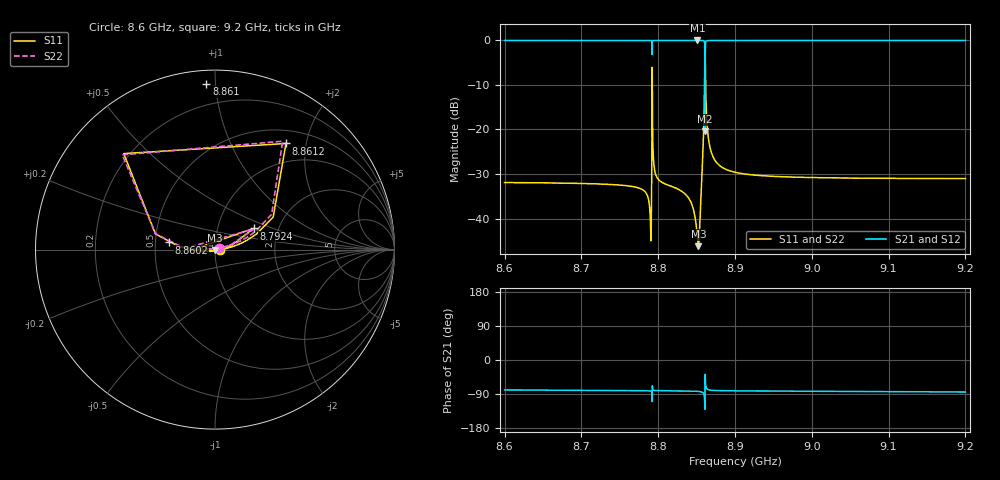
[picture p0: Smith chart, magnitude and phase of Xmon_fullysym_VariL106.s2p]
! Sonnet Data File
! From: emgraph Version : 16.52
! From Project: 171117_Xmon_fullysym
! Data is De-embedded
! Data File Written: 11/26/2017 21:44:47
!< HDATE 11/26/2017 17:24:49
!< MDATE 11/26/2017 17:24:49
!< PARAMS
!< Lj = 11.0
!< Gap = 1.0
!< Pwid = 2000.0
!< Airgap = 6.0
!< Width = 10.0
!< Lj1 = 10.6
!< END PARAMS
# GHZ S MA R 50.90000
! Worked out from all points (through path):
!   3001 points, 8.6 GHz to 9.2 GHz, reference 50.9 ohm
!   highest |S21| = 0.00 dB at 8.851 GHz (marker M1); lowest = -20.4 dB at 8.861 GHz (marker M2)
!   lowest |S11| = -46.2 dB at 8.8524 GHz (marker M3), VSWR 1.01, Z = 50.9 - j0.496 ohm
!   |S11| at or under -10 dB: start of sweep to 8.7921 GHz; 8.7923 GHz to 8.8603 GHz (68.01 MHz wide, 0.771 % of centre); 8.8617 GHz to end of sweep
!   |S22| runs from -46.0 to -0.7 dB; largest |S21 - S12| = 6.2e-10
!   S11 on the Smith chart (normalised r, x): 8.6 GHz: 1.05, -0.00; 8.7924 GHz: 1.49, +0.37; 8.8602 GHz: 0.59, +0.05; 8.861 GHz: 0.08, +0.95; 8.8612 GHz: 0.69, +1.65; 9.2 GHz: 1.06, -0.01
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8.6  0.02534 -0.4  0.9997 -79.0  0.9997 -79.0  0.02534 22.4
!< P1 F=8.6 Eeff=(6.44845572 -2.9799e-5) Z0=(50.9087207 1.17006e-4) R=0.0 C=0.0
!< P2 F=8.6 Eeff=(6.44845572 -2.9799e-5) Z0=(50.9087207 1.17006e-4) R=0.0 C=0.0
8.7  0.02476 -1.9  0.9997 -80.0  0.9997 -80.0  0.02476 21.9
8.7754  0.02191 -4.7  0.9998 -80.9  0.9998 -80.9  0.02191 23.0
8.7882  0.0149 -12.7  0.9998 -81.4  0.9998 -81.4  0.01493 30.2
8.7924  0.2452 28.7  0.9425 -68.1  0.9425 -68.1  0.2464 27.8
8.7946  0.03863 3.2  0.9991 -80.1  0.9991 -80.1  0.03867 17.1
8.8002  0.02749 -1.3  0.9996 -80.8  0.9996 -80.8  0.0275 19.8
8.8388  0.01736 -8.8  0.9998 -81.7  0.9998 -81.7  0.01736 25.5
8.851  0.006139 -46.2  0.9999 -82.6  0.9999 -82.6  0.006213 61.6
8.8524  0.004891 -84.8  0.9999 -82.8  0.9999 -82.8  0.005013 99.2
8.8552  0.01409 -154.2  0.9998 -83.6  0.9998 -83.6  0.01419 166.1
8.8586  0.07046 -174.1  0.9967 -86.9  0.9967 -86.9  0.07057 179.1
8.8602  0.2582 171.1  0.9593 -97.8  0.9593 -97.8  0.2585 170.3
8.861  0.9237 93.0  0.09564 -47.1  0.09564 -47.1  0.9245 94.3
8.8612  0.7113 56.2  0.6451 -37.7  0.6451 -37.7  0.7118 58.0
8.8642  0.09877 9.5  0.9947 -77.2  0.9947 -77.2  0.09881 16.5
8.8668  0.06687 6.1  0.9976 -79.1  0.9976 -79.1  0.06689 15.9
8.8718  0.04853 3.3  0.9988 -80.2  0.9988 -80.2  0.04854 16.4
8.9002  0.03305 -0.7  0.9994 -81.4  0.9994 -81.4  0.03306 18.0
9.0002  0.02885 -3.4  0.9996 -82.5  0.9996 -82.5  0.02885 18.3
9.1  0.02825 -4.8  0.9996 -83.5  0.9996 -83.5  0.02825 17.8
9.2  0.02809 -6.0  0.9996 -84.4  0.9996 -84.4  0.02809 17.1
